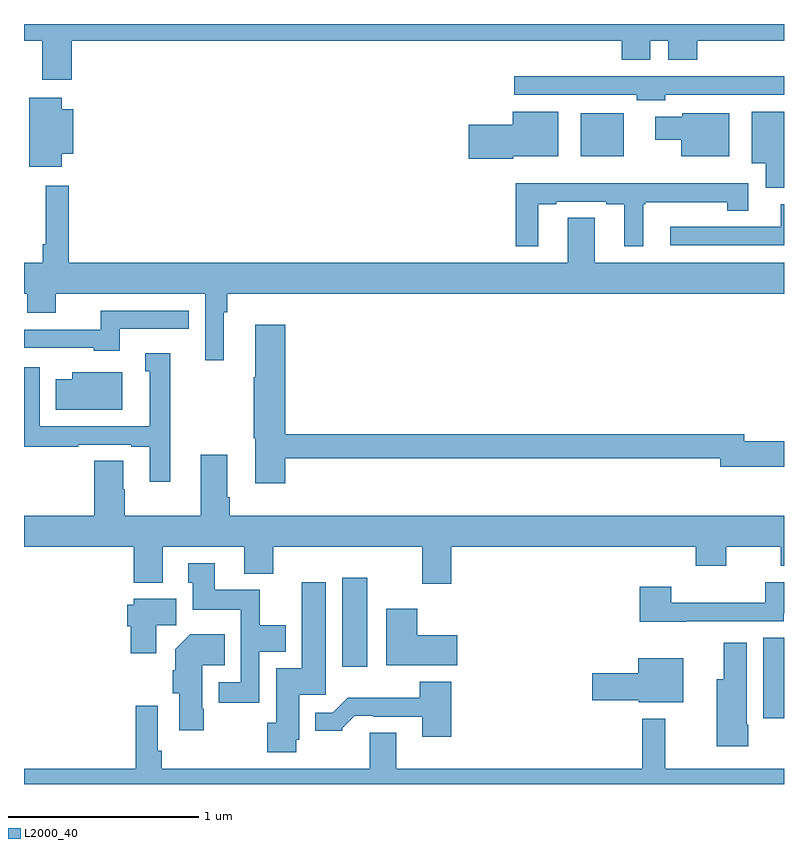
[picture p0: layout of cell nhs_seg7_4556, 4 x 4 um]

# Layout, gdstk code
import gdstk
lib = gdstk.Library(unit=1e-6, precision=1e-09)
def R(c, l, rs):  # rectangles x0, y0, x1, y1
    for r in rs: c.add(gdstk.rectangle(r[:2], r[2:], *l))
def P(c, l, *ps):  # polygons
    for p in ps: c.add(gdstk.Polygon(p, *l))
L2000_40 = (2000, 40)

nhs_seg7_4556 = lib.new_cell('nhs_seg7_4556')
R(nhs_seg7_4556, L2000_40, [(400.892,1034.346,401,1034.771), (398.675,1034.616,398.806,1035.085), (399.929,1037.303,400.156,1037.53)])
P(nhs_seg7_4556, L2000_40, [(397,1037.912),(397.097,1037.912),(397.097,1037.706),(397.25,1037.706),(397.25,1037.912),(400.145,1037.912),(400.145,1037.813),(400.297,1037.813),(400.297,1037.912),(400.391,1037.912),(400.391,1037.813),(400.544,1037.813),(400.544,1037.912),(401,1037.912),(401,1038),(397,1038)],
  [(400.374,1037.628),(401,1037.628),(401,1037.726),(400.627,1037.726),(400.627,1037.724),(400.124,1037.724),(400.124,1037.726),(399.579,1037.726),(399.579,1037.628),(400.224,1037.628),(400.224,1037.6),(400.374,1037.6)],
  [(397.199,1037.318),(397.258,1037.318),(397.258,1037.551),(397.199,1037.551),(397.199,1037.611),(397.028,1037.611),(397.028,1037.25),(397.199,1037.25)],
  [(401,1037.539),(400.829,1037.539),(400.829,1037.267),(400.904,1037.267),(400.904,1037.137),(401,1037.137)],
  [(399.576,1037.303),(399.811,1037.303),(399.811,1037.539),(399.572,1037.539),(399.572,1037.469),(399.342,1037.469),(399.342,1037.291),(399.576,1037.291)],
  [(400.711,1037.53),(400.464,1037.53),(400.464,1037.512),(400.323,1037.512),(400.323,1037.39),(400.46,1037.39),(400.46,1037.303),(400.711,1037.303)],
  [(399.706,1037.052),(399.802,1037.052),(399.802,1037.064),(400.064,1037.064),(400.064,1037.052),(400.16,1037.052),(400.16,1036.829),(400.258,1036.829),(400.258,1037.052),(400.27,1037.052),(400.27,1037.063),(400.7,1037.063),(400.7,1037.017),(400.813,1037.017),(400.813,1037.161),(400.364,1037.161),(400.364,1037.163),(400.164,1037.163),(400.164,1037.161),(399.589,1037.161),(399.589,1036.829),(399.706,1036.829)],
  [(398.05,1036.484),(398.069,1036.484),(398.069,1036.58),(401,1036.58),(401,1036.744),(400.003,1036.744),(400.003,1036.979),(399.863,1036.979),(399.863,1036.744),(397.235,1036.744),(397.235,1037.149),(397.114,1037.149),(397.114,1036.84),(397.099,1036.84),(397.099,1036.744),(397,1036.744),(397,1036.58),(397.016,1036.58),(397.016,1036.481),(397.168,1036.481),(397.168,1036.58),(397.953,1036.58),(397.953,1036.23),(398.05,1036.23)],
  [(401,1037.052),(400.982,1037.052),(400.982,1036.932),(400.401,1036.932),(400.401,1036.836),(401,1036.836)],
  [(397.504,1036.395),(397.868,1036.395),(397.868,1036.491),(397.405,1036.491),(397.405,1036.392),(397,1036.392),(397,1036.296),(397.368,1036.296),(397.368,1036.28),(397.504,1036.28)],
  [(398.375,1035.714),(400.664,1035.714),(400.664,1035.671),(401,1035.671),(401,1035.805),(400.792,1035.805),(400.792,1035.842),(398.375,1035.842),(398.375,1036.417),(398.216,1036.417),(398.216,1036.142),(398.209,1036.142),(398.209,1035.819),(398.216,1035.819),(398.216,1035.582),(398.375,1035.582)],
  [(397.771,1036.267),(397.637,1036.267),(397.637,1036.173),(397.661,1036.173),(397.661,1035.882),(397.083,1035.882),(397.083,1036.194),(397,1036.194),(397,1035.774),(397.286,1035.774),(397.286,1035.786),(397.565,1035.786),(397.565,1035.774),(397.661,1035.774),(397.661,1035.591),(397.771,1035.591)],
  [(397.516,1036.168),(397.253,1036.168),(397.253,1036.129),(397.168,1036.129),(397.168,1035.971),(397.516,1035.971)],
  [(399.248,1035.248),(400.535,1035.248),(400.535,1035.149),(400.695,1035.149),(400.695,1035.248),(400.984,1035.248),(400.984,1035.149),(401,1035.149),(401,1035.412),(398.084,1035.412),(398.084,1035.508),(398.071,1035.508),(398.071,1035.733),(397.931,1035.733),(397.931,1035.412),(397.53,1035.412),(397.53,1035.551),(397.522,1035.551),(397.522,1035.701),(397.37,1035.701),(397.37,1035.412),(397,1035.412),(397,1035.248),(397.577,1035.248),(397.577,1035.059),(397.729,1035.059),(397.729,1035.248),(398.159,1035.248),(398.159,1035.107),(398.312,1035.107),(398.312,1035.248),(399.095,1035.248),(399.095,1035.054),(399.248,1035.054)],
  [(398.238,1034.696),(398.377,1034.696),(398.377,1034.836),(398.241,1034.836),(398.241,1035.022),(398.005,1035.022),(398.005,1035.163),(397.865,1035.163),(397.865,1035.06),(397.889,1035.06),(397.889,1034.918),(398.142,1034.918),(398.142,1034.535),(398.025,1034.535),(398.025,1034.427),(398.238,1034.427)],
  [(398.433,1034.232),(398.449,1034.232),(398.449,1034.469),(398.587,1034.469),(398.587,1035.061),(398.462,1035.061),(398.462,1034.608),(398.327,1034.608),(398.327,1034.322),(398.281,1034.322),(398.281,1034.166),(398.433,1034.166)],
  [(400.489,1034.856),(400.998,1034.856),(400.998,1034.9),(401,1034.9),(401,1035.061),(400.902,1035.061),(400.902,1034.954),(400.406,1034.954),(400.406,1035.037),(400.241,1035.037),(400.241,1034.855),(400.489,1034.855)],
  [(397.696,1034.836),(397.801,1034.836),(397.801,1034.974),(397.578,1034.974),(397.578,1034.943),(397.544,1034.943),(397.544,1034.829),(397.562,1034.829),(397.562,1034.688),(397.696,1034.688)],
  [(399.28,1034.782),(399.07,1034.782),(399.07,1034.923),(398.906,1034.923),(398.906,1034.624),(399.28,1034.624)],
  [(397.947,1034.395),(397.939,1034.395),(397.939,1034.624),(398.057,1034.624),(398.057,1034.788),(397.874,1034.788),(397.796,1034.71),(397.796,1034.6),(397.784,1034.6),(397.784,1034.478),(397.817,1034.478),(397.817,1034.283),(397.947,1034.283)],
  [(400.812,1034.311),(400.804,1034.311),(400.804,1034.743),(400.682,1034.743),(400.682,1034.551),(400.646,1034.551),(400.646,1034.199),(400.812,1034.199)],
  [(400.471,1034.662),(400.232,1034.662),(400.232,1034.582),(399.99,1034.582),(399.99,1034.44),(400.236,1034.44),(400.236,1034.429),(400.471,1034.429)],
  [(399.248,1034.539),(399.083,1034.539),(399.083,1034.455),(398.704,1034.455),(398.625,1034.376),(398.534,1034.376),(398.534,1034.279),(398.676,1034.279),(398.676,1034.294),(398.74,1034.358),(398.839,1034.358),(398.839,1034.355),(399.095,1034.355),(399.095,1034.25),(399.248,1034.25)],
  [(401,1034.08),(400.376,1034.08),(400.376,1034.344),(400.255,1034.344),(400.255,1034.08),(398.959,1034.08),(398.959,1034.27),(398.819,1034.27),(398.819,1034.08),(397.724,1034.08),(397.724,1034.176),(397.704,1034.176),(397.704,1034.413),(397.588,1034.413),(397.588,1034.08),(397,1034.08),(397,1034),(401,1034)])

lib.write_gds('nhs_seg7_4556.gds')
